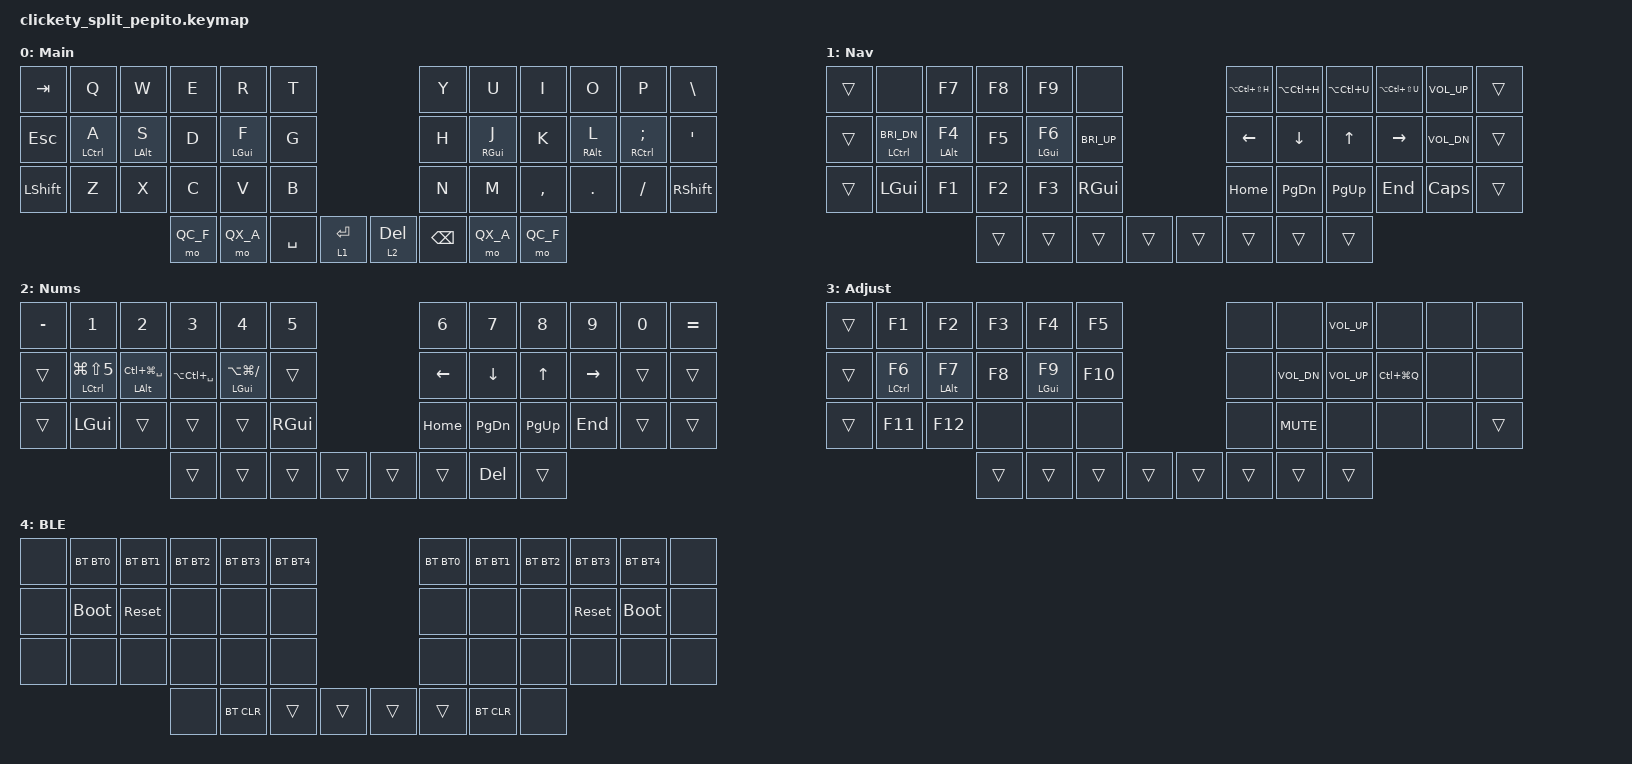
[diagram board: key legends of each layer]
/*
 * Copyright (c) 2023 The ZMK Contributors
 *
 * SPDX-License-Identifier: MIT
 */
#include <behaviors.dtsi>
#include <dt-bindings/zmk/keys.h>
#include <dt-bindings/zmk/bt.h>

// Layers
#define QX_M    0       // Main
#define QX_L    1       // Lower
#define QX_R    2       // Raise
#define QX_A    3       // Adjust

#define QC_F    4       // Firmware


// Short versions
#define OSX_SC  LG(LS(N5))
#define OSX_EP  LC(LG(SPACE))
#define OSX_FD  LA(LC(SPACE))
#define OSX_CD  LA(LG(FSLH))

#define OSX_BOL LG(LEFT)
#define OSX_EOL LG(RIGHT)

#define LFT12   LA(LC(H))
#define LFT23   LA(LC(LS(H)))
#define RGT12   LA(LC(U))
#define RGT23   LA(LC(LS(U)))
#define FSCREEN LA(LC(LS(LG(G))))

#define BT0     BT_SEL 0
#define BT1     BT_SEL 1
#define BT2     BT_SEL 2
#define BT3     BT_SEL 3
#define BT4     BT_SEL 4

#define BOOTLDR     &bootloader
#define SYSRSET     &sys_reset

#define VOLUP   C_VOL_UP
#define VOLDN   C_VOL_DN
#define VOLMT   C_MUTE

#define LOCK_X  LC(LG(Q))

/ {
    behaviors {
        hm: homerow_mods {
            compatible = "zmk,behavior-hold-tap";
            #binding-cells = <2>;
            tapping-term-ms = <175>;
            quick-tap-ms = <0>;
            flavor = "tap-preferred";
            bindings = <&kp>, <&kp>;
        };
    };

    combos {
        compatible = "zmk,combos";

        combo_osx_grave {
            timeout-ms = <50>;
            key-positions = <0 1>;
            layers = <QX_M>;
            bindings = <&kp GRAV>;
        };

        combo_osx_lpar {
            timeout-ms = <50>;
            key-positions = <2 3>;
            layers = <QX_M>;
            bindings = <&kp LPAR>;
        };

        combo_osx_rpar {
            timeout-ms = <50>;
            key-positions = <8 9>;
            layers = <QX_M>;
            bindings = <&kp RPAR>;
        };

        combo_osx_lbrc {
            timeout-ms = <50>;
            key-positions = <14 15>;
            layers = <QX_M>;
            bindings = <&kp LBRC>;
        };

        combo_osx_rbrc {
            timeout-ms = <50>;
            key-positions = <20 21>;
            layers = <QX_M>;
            bindings = <&kp RBRC>;
        };

        combo_osx_lbkt {
            timeout-ms = <50>;
            key-positions = <26 27>;
            layers = <QX_M>;
            bindings = <&kp LBKT>;
        };

        combo_osx_rbkt {
            timeout-ms = <50>;
            key-positions = <32 33>;
            layers = <QX_M>;
            bindings = <&kp RBKT>;
        };

        combo_nav_fs {
            timeout-ms = <50>;
            key-positions = <7 8>;
            layers = <QX_L>;
            bindings = <&kp FSCREEN>;
        };
    };

    keymap {
        compatible = "zmk,keymap";

        default_osx_layer {
            label = " Main";
            bindings = <
&kp TAB    &kp Q          &kp W         &kp E      &kp R         &kp T                       &kp Y      &kp U         &kp I      &kp O         &kp P             &kp BSLH
&kp ESC    &hm LCTRL A    &hm LALT S    &kp D      &hm LGUI F    &kp G                            &kp H      &hm RGUI J    &kp K      &hm RALT L    &hm RCTRL SEMI    &kp SQT
&kp LSHFT  &kp Z          &kp X         &kp C      &kp V         &kp B                            &kp N      &kp M         &kp COMMA  &kp DOT       &kp FSLH          &kp RSHFT
                                        &mo QC_F   &mo QX_A   &kp SPACE   &lt 1 RET    &lt 2 DEL   &kp BSPC   &mo QX_A   &mo QC_F
            >;
        };

        lower_osx_layer {
            label = " Nav";
            bindings = <
&trans    &none         &kp F7         &kp F8          &kp F9     &none                            &kp LFT23  &kp LFT12  &kp RGT12  &kp RGT23  &kp VOLUP   &trans
&trans    &hm LCTRL C_BRI_DN  &hm LALT F4    &kp F5    &hm LGUI F6     &kp C_BRI_UP                &kp LEFT   &kp DOWN   &kp UP     &kp RIGHT  &kp VOLDN   &trans
&trans    &kp LGUI         &kp F1         &kp F2          &kp F3     &kp RGUI                            &kp HOME   &kp PG_DN  &kp PG_UP  &kp END    &kp CAPS    &trans
                                             &trans    &trans     &trans     &trans      &trans    &trans     &trans     &trans
            >;
        };

        raise_osx_layer {
            label = " Nums";
            bindings = <
&kp MINUS  &kp N1     &kp N2          &kp N3           &kp N4     &kp N5                           &kp N6     &kp N7     &kp N8     &kp N9     &kp N0    &kp EQUAL
&trans     &hm LCTRL OSX_SC &hm LALT OSX_EP &kp OSX_FD  &hm LGUI OSX_CD   &trans                   &kp LEFT   &kp DOWN   &kp UP     &kp RIGHT  &trans    &trans
&trans     &kp LGUI     &trans          &trans           &trans     &kp RGUI                           &kp HOME   &kp PG_DN  &kp PG_UP  &kp END    &trans    &trans
                                      &trans           &trans     &trans     &trans      &trans    &trans     &kp DEL    &trans
            >;
        };

        adjust_osx_layer {
            label = " Adjust";
            bindings = <
&trans     &kp F1     &kp F2     &kp F3     &kp F4     &kp F5                           &none      &none      &kp VOLUP  &none      &none      &none
&trans     &hm LCTRL F6     &hm LALT F7     &kp F8     &hm LGUI F9     &kp F10                     &none      &kp VOLDN  &kp VOLUP  &kp LOCK_X &none      &none 
&trans     &kp F11    &kp F12    &none      &none      &none                            &none      &kp VOLMT  &none      &none      &none      &trans
                                 &trans     &trans     &trans     &trans      &trans    &trans     &trans     &trans
            >;
        };

        firmware_layer {
            label = " BLE";
            bindings = <
&none       &bt BT0     &bt BT1  &bt BT2    &bt BT3    &bt BT4                          &bt BT0    &bt BT1    &bt BT2    &bt BT3    &bt BT4    &none 
&none       BOOTLDR     SYSRSET  &none      &none      &none                            &none      &none      &none      SYSRSET    BOOTLDR    &none
&none       &none       &none    &none      &none      &none                            &none      &none      &none      &none      &none      &none
                                 &none      &bt BT_CLR &trans     &trans      &trans    &trans     &bt BT_CLR &none 
            >;
        };
    };
};
